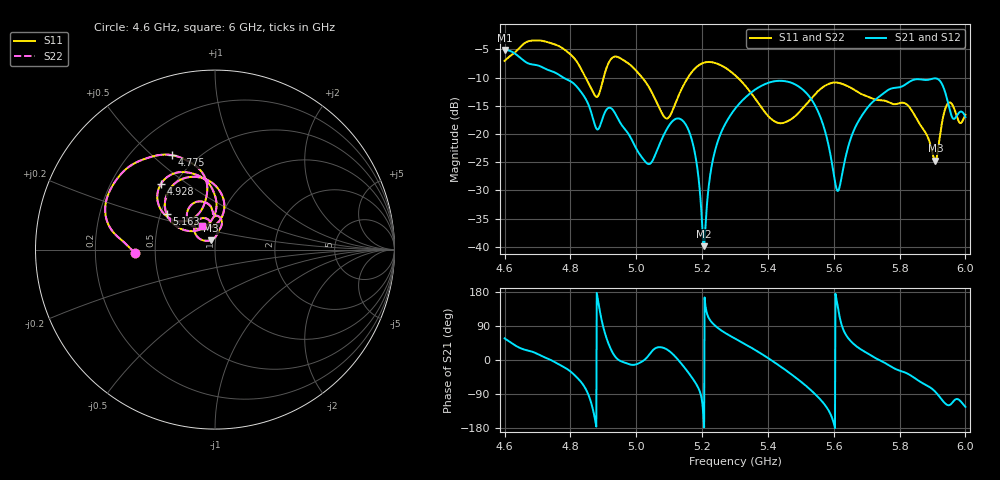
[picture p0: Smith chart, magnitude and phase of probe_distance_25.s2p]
! TOUCHSTONE file generated by CST MICROWAVE STUDIO
! Date and time: Sat Nov 30 13:11:03 2024
! Project name: test_tuning.cst
! Parameters = {airCoaxOuterDiameter=3; chamferAngle=45; chamferWidth=24; connectorLength=10; drillingHoleDiameter=4.1; feedLength=60; flareDiameter=130; flareLength=70; gratingDistance=0; gratingGap=1.90274; outletLength=30; polarizerLength=134; probe1Diameter=1.3; probe1Distance=20; probe1Length=1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
! Header version: 2024
! Port assignment regex: !\s*Touchstone port\s*([0-9]+)\s*=\s*(CST MWS port|CST DES external port|CST DES block port)\s*(.+)\s* \(\"(.*)\"\)(\s*mode\s*([0-9]+))?.*
! Touchstone port assignment:
! Touchstone port 1 = CST MWS port 1 ("Input1")
! Touchstone port 2 = CST MWS port 2 ("Input2")
# GHz S MA R 50
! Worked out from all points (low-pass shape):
!   1001 points, 4.6 GHz to 6 GHz, reference 50 ohm
!   highest |S21| = -5.10 dB at 4.6 GHz (marker M1); lowest = -39.9 dB at 5.205 GHz (marker M2)
!   |S21| within 3 dB of the highest: start of sweep to 4.712 GHz
!   lowest |S11| = -24.7 dB at 5.909 GHz (marker M3), VSWR 1.12, Z = 47.4 + j5.01 ohm
!   |S11| at or under -10 dB: 4.846 GHz to 4.901 GHz (54.88 MHz wide, 1.13 % of centre); 5.018 GHz to 5.157 GHz (139.3 MHz wide, 2.74 % of centre); 5.308 GHz to end of sweep
!   |S22| runs from -24.7 to -3.4 dB; largest |S21 - S12| = 8e-07
!   S11 on the Smith chart (normalised r, x): 4.6 GHz: 0.39, -0.02; 4.775 GHz: 0.37, +0.58; 4.928 GHz: 0.42, +0.40; 5.163 GHz: 0.54, +0.24; 6 GHz: 0.84, +0.22
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4.6  0.4435 -177.8  0.5558 57.0  0.5558 57.0  0.4435 -177.8
4.6728  0.6631 156.4  0.4206 24.5  0.4206 24.5  0.6631 156.4
4.775  0.5771 114.3  0.3198 -16.4  0.3198 -16.4  0.5771 114.3
4.8338  0.37 97.0  0.2322 -59.8  0.2322 -59.8  0.37 97.0
4.88  0.2128 123.6  0.1106 177.1  0.1106 177.1  0.2128 123.6
4.9276  0.474 129.5  0.1651 20.2  0.1651 20.2  0.474 129.5
5.0312  0.2807 88.9  0.05539 5.5  0.05539 5.5  0.2807 88.9
5.0676  0.1759 93.8  0.07707 33.7  0.07707 33.7  0.1759 93.8
5.0984  0.1397 127.2  0.1174 24.8  0.1174 24.8  0.1397 127.2
5.1628  0.335 143.6  0.101 -38.5  0.101 -38.5  0.335 143.6
5.2048  0.4268 124.4  0.01016 -158.1  0.01016 -158.1  0.4268 124.4
5.2398  0.425 107.5  0.07206 90.4  0.07206 90.4  0.425 107.5
5.3  0.3318 86.0  0.1669 56.6  0.1669 56.6  0.3318 86.0
5.4302  0.1255 101.6  0.2953 -12.3  0.2953 -12.3  0.1255 101.6
5.5338  0.2093 133.7  0.1991 -82.1  0.1991 -82.1  0.2093 133.7
5.6122  0.2845 109.8  0.03129 141.0  0.03129 141.0  0.2845 109.8
5.6696  0.2388 95.3  0.1214 35.7  0.1214 35.7  0.2388 95.3
5.7676  0.1908 90.6  0.2475 -13.9  0.2475 -13.9  0.1908 90.6
5.8292  0.1739 78.9  0.2889 -38.3  0.2889 -38.3  0.1739 78.9
5.909  0.05791 114.6  0.311 -84.2  0.311 -84.2  0.05791 114.6
5.9454  0.1843 125.4  0.1983 -118.7  0.1983 -118.7  0.1843 125.4
6  0.1476 118.3  0.1413 -123.8  0.1413 -123.8  0.1476 118.3
